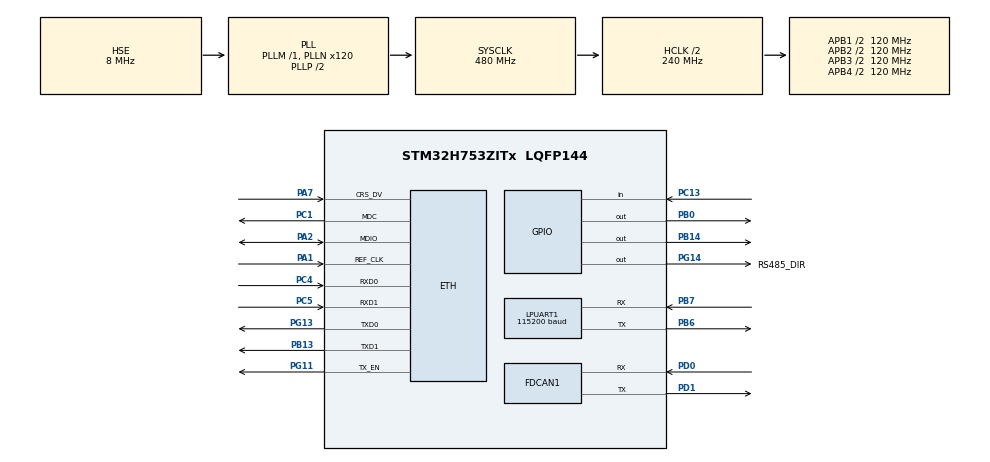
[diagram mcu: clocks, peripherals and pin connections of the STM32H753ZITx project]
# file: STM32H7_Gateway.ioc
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Bdma.LPUART1_RX.0.Direction=DMA_PERIPH_TO_MEMORY
Bdma.LPUART1_RX.0.EventEnable=DISABLE
Bdma.LPUART1_RX.0.Instance=BDMA_Channel0
Bdma.LPUART1_RX.0.MemDataAlignment=DMA_MDATAALIGN_BYTE
Bdma.LPUART1_RX.0.MemInc=DMA_MINC_ENABLE
Bdma.LPUART1_RX.0.Mode=DMA_NORMAL
Bdma.LPUART1_RX.0.PeriphDataAlignment=DMA_PDATAALIGN_BYTE
Bdma.LPUART1_RX.0.PeriphInc=DMA_PINC_DISABLE
Bdma.LPUART1_RX.0.Polarity=HAL_DMAMUX_REQ_GEN_RISING
Bdma.LPUART1_RX.0.Priority=DMA_PRIORITY_LOW
Bdma.LPUART1_RX.0.RequestNumber=1
Bdma.LPUART1_RX.0.SignalID=NONE
Bdma.LPUART1_RX.0.SyncEnable=DISABLE
Bdma.LPUART1_RX.0.SyncPolarity=HAL_DMAMUX_SYNC_NO_EVENT
Bdma.LPUART1_RX.0.SyncRequestNumber=1
Bdma.LPUART1_RX.0.SyncSignalID=NONE
Bdma.LPUART1_TX.1.Direction=DMA_MEMORY_TO_PERIPH
Bdma.LPUART1_TX.1.EventEnable=DISABLE
Bdma.LPUART1_TX.1.Instance=BDMA_Channel1
Bdma.LPUART1_TX.1.MemDataAlignment=DMA_MDATAALIGN_BYTE
Bdma.LPUART1_TX.1.MemInc=DMA_MINC_ENABLE
Bdma.LPUART1_TX.1.Mode=DMA_NORMAL
Bdma.LPUART1_TX.1.PeriphDataAlignment=DMA_PDATAALIGN_BYTE
Bdma.LPUART1_TX.1.PeriphInc=DMA_PINC_DISABLE
Bdma.LPUART1_TX.1.Polarity=HAL_DMAMUX_REQ_GEN_RISING
Bdma.LPUART1_TX.1.Priority=DMA_PRIORITY_LOW
Bdma.LPUART1_TX.1.RequestNumber=1
Bdma.LPUART1_TX.1.SignalID=NONE
Bdma.LPUART1_TX.1.SyncEnable=DISABLE
Bdma.LPUART1_TX.1.SyncPolarity=HAL_DMAMUX_SYNC_NO_EVENT
Bdma.LPUART1_TX.1.SyncRequestNumber=1
Bdma.LPUART1_TX.1.SyncSignalID=NONE
Bdma.Request0=LPUART1_RX
Bdma.Request1=LPUART1_TX
Bdma.RequestsNb=2
CORTEX_M7.CPU_DCache=Disabled
CORTEX_M7.CPU_ICache=Disabled
CORTEX_M7.MPU_Control=__NULL
CORTEX_M7.default_mode_Activation=1
ETH.MediaInterface=HAL_ETH_RMII_MODE
FDCAN1.CalculateBaudRateNominal=166666
FDCAN1.CalculateTimeBitNominal=6000
FDCAN1.CalculateTimeQuantumNominal=2000.0
FDCAN1.Mode=FDCAN_MODE_INTERNAL_LOOPBACK
FDCAN1.RxFifo0ElmtsNbr=1
FDCAN1.StdFiltersNbr=1
FDCAN1.TxFifoQueueElmtsNbr=1
FREERTOS.Tasks01=defaultTask,24,1024,StartDefaultTask,Default,NULL,Dynamic,NULL,NULL
FREERTOS.configTOTAL_HEAP_SIZE=32768
IWDG1.Prescaler=IWDG_PRESCALER_32
IWDG1.Reload=2000
LPUART1.BaudRate=115200
LWIP.BSP.number=1
LWIP.GATEWAY_ADDRESS=192.168.001.001
LWIP.IP_ADDRESS=192.168.001.010
LWIP.LWIP_DHCP=0
LWIP.NETMASK_ADDRESS=255.255.255.000
LWIP.TCPIP_THREAD_STACKSIZE=4096
LWIP.Version=v2.1.2_Cube
LWIP0.BSP.STBoard=false
LWIP0.BSP.api=BSP_COMPONENT_DRIVER
LWIP0.BSP.component=LAN8742
LWIP0.BSP.instance=LAN8742
LWIP0.BSP.name=Driver_PHY
LWIP0.BSP.semaphore=S_LAN8742
LWIP0.BSP.solution=LAN8742
Mcu.Family=STM32H7
Mcu.Name=STM32H753ZITx
Mcu.Package=LQFP144
NUCLEO-H753ZI.BUTTON=1
NUCLEO-H753ZI.LD1=true
NUCLEO-H753ZI.LD2=true
NUCLEO-H753ZI.LD3=true
NUCLEO-H753ZI.VCP=true
NVIC.BDMA_Channel0_IRQn=true\:5\:0\:false\:false\:true\:true\:false\:true\:true
NVIC.BDMA_Channel1_IRQn=true\:5\:0\:false\:false\:true\:true\:false\:true\:true
NVIC.ETH_IRQn=true\:5\:0\:false\:false\:true\:true\:true\:true\:true
NVIC.EXTI15_10_IRQn=true\:5\:0\:false\:false\:true\:true\:false\:true\:true
NVIC.FDCAN1_IT0_IRQn=true\:5\:0\:false\:false\:true\:true\:true\:true\:true
NVIC.LPUART1_IRQn=true\:5\:0\:false\:false\:true\:true\:true\:true\:true
NVIC.PriorityGroup=NVIC_PRIORITYGROUP_4
NVIC.TIM6_DAC_IRQn=true\:15\:0\:false\:false\:true\:false\:false\:true\:true
NVIC.TimeBase=TIM6_DAC_IRQn
NVIC.TimeBaseIP=TIM6
PA1.Mode=RMII
PA1.Signal=ETH_REF_CLK
PA2.Mode=RMII
PA2.Signal=ETH_MDIO
PA7.Mode=RMII
PA7.Signal=ETH_CRS_DV
PB0.Signal=GPIO_Output
PB13.Mode=RMII
PB13.Signal=ETH_TXD1
PB14.Signal=GPIO_Output
PB6.Mode=Asynchronous
PB6.Signal=LPUART1_TX
PB7.Mode=Asynchronous
PB7.Signal=LPUART1_RX
PC1.Mode=RMII
PC1.Signal=ETH_MDC
PC13.Signal=GPIO_Input
PC14-OSC32_IN\ (OSC32_IN).Signal=RCC_OSC32_IN
PC15-OSC32_OUT\ (OSC32_OUT).Signal=RCC_OSC32_OUT
PC4.Mode=RMII
PC4.Signal=ETH_RXD0
PC5.Mode=RMII
PC5.Signal=ETH_RXD1
PD0.Mode=FDCAN_Activate
PD0.Signal=FDCAN1_RX
PD1.Mode=FDCAN_Activate
PD1.Signal=FDCAN1_TX
PD8.Signal=USART3_TX
PD9.Signal=USART3_RX
PG11.Mode=RMII
PG11.Signal=ETH_TX_EN
PG13.Mode=RMII
PG13.Signal=ETH_TXD0
PG14.GPIO_Label=RS485_DIR
PG14.Signal=GPIO_Output
PH0-OSC_IN\ (PH0).Mode=HSE-External-Clock-Source
PH0-OSC_IN\ (PH0).Signal=RCC_OSC_IN
PH1-OSC_OUT\ (PH1).Signal=RCC_OSC_OUT
ProjectManager.HeapSize=0x200
ProjectManager.StackSize=0x400
ProjectManager.TargetToolchain=CMake
RCC.ADCFreq_Value=16125000
RCC.APB1Freq_Value=120000000
RCC.APB2Freq_Value=120000000
RCC.APB3Freq_Value=120000000
RCC.APB4Freq_Value=120000000
RCC.CortexFreq_Value=480000000
RCC.D1PPRE=RCC_APB3_DIV2
RCC.D2PPRE1=RCC_APB1_DIV2
RCC.D2PPRE2=RCC_APB2_DIV2
RCC.D3PPRE=RCC_APB4_DIV2
RCC.DIVM1=1
RCC.DIVN1=120
RCC.DIVQ1=4
RCC.FDCANCLockSelection=RCC_FDCANCLKSOURCE_HSE
RCC.HCLKFreq_Value=240000000
RCC.HPRE=RCC_HCLK_DIV2
RCC.HSE_VALUE=8000000
RCC.PLLFRACN=0
RCC.PLLSourceVirtual=RCC_PLLSOURCE_HSE
RCC.PWR_Regulator_Voltage_Scale=PWR_REGULATOR_VOLTAGE_SCALE0
RCC.SYSCLKFreq_VALUE=480000000
RCC.SYSCLKSource=RCC_SYSCLKSOURCE_PLLCLK
RCC.USBFreq_Value=240000000
VP_FREERTOS_VS_CMSIS_V2.Mode=CMSIS_V2
VP_IWDG1_VS_IWDG.Mode=IWDG_Activate
VP_LWIP_VS_Enabled.Mode=Enabled
VP_MEMORYMAP_VS_MEMORYMAP.Mode=CurAppReg
VP_NUCLEO-H753ZI_VS_BSP_COMMON.Mode=COMMON
VP_SYS_VS_tim6.Mode=TIM6
board=NUCLEO-H753ZI

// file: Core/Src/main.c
/* USER CODE BEGIN Header */
/**
  ******************************************************************************
  * @file           : main.c
  * @brief          : Main program body
  ******************************************************************************
  * @attention
  *
  * Copyright (c) 2026 STMicroelectronics.
  * All rights reserved.
  *
  * This software is licensed under terms that can be found in the LICENSE file
  * in the root directory of this software component.
  * If no LICENSE file comes with this software, it is provided AS-IS.
  *
  ******************************************************************************
  */
/* USER CODE END Header */
#include "main.h"
#include "cmsis_os.h"
#include "lwip.h"

/* USER CODE BEGIN Includes */
#include "modbus_tcp_server.h"

#include "can.h"
#include "pvd.h"
#include "rs485.h"
#include "tasks_init.h"
/* USER CODE END Includes */

COM_InitTypeDef BspCOMInit;

FDCAN_HandleTypeDef hfdcan1;

IWDG_HandleTypeDef hiwdg1;

UART_HandleTypeDef hlpuart1;
DMA_HandleTypeDef hdma_lpuart1_rx;
DMA_HandleTypeDef hdma_lpuart1_tx;

/* Definitions for defaultTask */
osThreadId_t defaultTaskHandle;
const osThreadAttr_t defaultTask_attributes = {
  .name = "defaultTask",
  .stack_size = 1024 * 4,
  .priority = (osPriority_t) osPriorityNormal,
};

void SystemClock_Config(void);
static void MX_GPIO_Init(void);
static void MX_BDMA_Init(void);
static void MX_FDCAN1_Init(void);
static void MX_IWDG1_Init(void);
static void MX_LPUART1_UART_Init(void);
void StartDefaultTask(void *argument);

/* USER CODE BEGIN PFP */
static void MPU_Config(void);
/* USER CODE END PFP */

/* USER CODE BEGIN 0 */
/**
  * @brief  Configure the MPU for Ethernet Descriptors and Buffers in D2 SRAM.
  * @note   Configures 0x30000000 - 0x30007FFF (32KB) as Normal, Non-Cacheable,
  *         Shared to ensure Cache coherency between CPU and Ethernet DMA.
  * @retval None
  */
static void MPU_Config(void)
{
  MPU_Region_InitTypeDef MPU_InitStruct = {0};

  /* Disables the MPU */
  HAL_MPU_Disable();

  /* Configure the MPU as Normal Non-Cacheable for Ethernet Buffers & Descriptors */
  MPU_InitStruct.Enable = MPU_REGION_ENABLE;
  MPU_InitStruct.Number = MPU_REGION_NUMBER0;
  MPU_InitStruct.BaseAddress = 0x30000000;
  MPU_InitStruct.Size = MPU_REGION_SIZE_64KB;
  MPU_InitStruct.SubRegionDisable = 0x0;
  MPU_InitStruct.TypeExtField = MPU_TEX_LEVEL1;
  MPU_InitStruct.AccessPermission = MPU_REGION_FULL_ACCESS;
  MPU_InitStruct.DisableExec = MPU_INSTRUCTION_ACCESS_DISABLE;
  MPU_InitStruct.IsShareable = MPU_ACCESS_SHAREABLE;
  MPU_InitStruct.IsCacheable = MPU_ACCESS_NOT_CACHEABLE;
  MPU_InitStruct.IsBufferable = MPU_ACCESS_NOT_BUFFERABLE;

  HAL_MPU_ConfigRegion(&MPU_InitStruct);

  /* Enables the MPU */
  HAL_MPU_Enable(MPU_PRIVILEGED_DEFAULT);
}
/* USER CODE END 0 */

int main(void)
{

  /* USER CODE BEGIN 1 */
  MPU_Config();
  /* USER CODE END 1 */

  /* MCU Configuration--------------------------------------------------------*/

  /* Reset of all peripherals, Initializes the Flash interface and the Systick. */
  HAL_Init();

  /* Configure the system clock */
  SystemClock_Config();

  /* Initialize all configured peripherals */
  MX_GPIO_Init();
  MX_BDMA_Init();
  MX_FDCAN1_Init();
  MX_IWDG1_Init();
  MX_LPUART1_UART_Init();
  /* USER CODE BEGIN 2 */
  __HAL_DBGMCU_FREEZE_IWDG1();
  /* USER CODE END 2 */

  /* Init scheduler */
  osKernelInitialize();

  /* Create the thread(s) */
  /* creation of defaultTask */
  defaultTaskHandle = osThreadNew(StartDefaultTask, NULL, &defaultTask_attributes);

  /* Initialize leds */
  BSP_LED_Init(LED_GREEN);
  // BSP_LED_Init(LED_BLUE);
  BSP_LED_Init(LED_RED);

  /* Initialize USER push-button, will be used to trigger an interrupt each time it's pressed.*/
  BSP_PB_Init(BUTTON_USER, BUTTON_MODE_EXTI);

  /* Initialize COM1 port (115200, 8 bits (7-bit data + 1 stop bit), no parity */
  BspCOMInit.BaudRate   = 115200;
  BspCOMInit.WordLength = COM_WORDLENGTH_8B;
  BspCOMInit.StopBits   = COM_STOPBITS_1;
  BspCOMInit.Parity     = COM_PARITY_NONE;
  BspCOMInit.HwFlowCtl  = COM_HWCONTROL_NONE;
  if (BSP_COM_Init(COM1, &BspCOMInit) != BSP_ERROR_NONE)
  {
    Error_Handler();
  }

  /* Start scheduler */
  osKernelStart();

  /* We should never get here as control is now taken by the scheduler */

  /* Infinite loop */
  while (1)
  {

  }
}

void SystemClock_Config(void)
{
  RCC_OscInitTypeDef RCC_OscInitStruct = {0};
  RCC_ClkInitTypeDef RCC_ClkInitStruct = {0};

  /** Supply configuration update enable
  */
  HAL_PWREx_ConfigSupply(PWR_LDO_SUPPLY);

  /** Configure the main internal regulator output voltage
  */
  __HAL_PWR_VOLTAGESCALING_CONFIG(PWR_REGULATOR_VOLTAGE_SCALE0);

  while(!__HAL_PWR_GET_FLAG(PWR_FLAG_VOSRDY)) {}

  /** Initializes the RCC Oscillators according to the specified parameters
  * in the RCC_OscInitTypeDef structure.
  */
  RCC_OscInitStruct.OscillatorType = RCC_OSCILLATORTYPE_LSI|RCC_OSCILLATORTYPE_HSE;
  RCC_OscInitStruct.HSEState = RCC_HSE_BYPASS;
  RCC_OscInitStruct.LSIState = RCC_LSI_ON;
  RCC_OscInitStruct.PLL.PLLState = RCC_PLL_ON;
  RCC_OscInitStruct.PLL.PLLSource = RCC_PLLSOURCE_HSE;
  RCC_OscInitStruct.PLL.PLLM = 1;
  RCC_OscInitStruct.PLL.PLLN = 120;
  RCC_OscInitStruct.PLL.PLLP = 2;
  RCC_OscInitStruct.PLL.PLLQ = 4;
  RCC_OscInitStruct.PLL.PLLR = 2;
  RCC_OscInitStruct.PLL.PLLRGE = RCC_PLL1VCIRANGE_3;
  RCC_OscInitStruct.PLL.PLLVCOSEL = RCC_PLL1VCOWIDE;
  RCC_OscInitStruct.PLL.PLLFRACN = 0;
  if (HAL_RCC_OscConfig(&RCC_OscInitStruct) != HAL_OK)
  {
    Error_Handler();
  }

  /** Initializes the CPU, AHB and APB buses clocks
  */
  RCC_ClkInitStruct.ClockType = RCC_CLOCKTYPE_HCLK|RCC_CLOCKTYPE_SYSCLK
                              |RCC_CLOCKTYPE_PCLK1|RCC_CLOCKTYPE_PCLK2
                              |RCC_CLOCKTYPE_D3PCLK1|RCC_CLOCKTYPE_D1PCLK1;
  RCC_ClkInitStruct.SYSCLKSource = RCC_SYSCLKSOURCE_PLLCLK;
  RCC_ClkInitStruct.SYSCLKDivider = RCC_SYSCLK_DIV1;
  RCC_ClkInitStruct.AHBCLKDivider = RCC_HCLK_DIV2;
  RCC_ClkInitStruct.APB3CLKDivider = RCC_APB3_DIV2;
  RCC_ClkInitStruct.APB1CLKDivider = RCC_APB1_DIV2;
  RCC_ClkInitStruct.APB2CLKDivider = RCC_APB2_DIV2;
  RCC_ClkInitStruct.APB4CLKDivider = RCC_APB4_DIV2;

  if (HAL_RCC_ClockConfig(&RCC_ClkInitStruct, FLASH_LATENCY_4) != HAL_OK)
  {
    Error_Handler();
  }
}

static void MX_FDCAN1_Init(void)
{

  hfdcan1.Instance = FDCAN1;
  hfdcan1.Init.FrameFormat = FDCAN_FRAME_CLASSIC;
  hfdcan1.Init.Mode = FDCAN_MODE_INTERNAL_LOOPBACK;
  hfdcan1.Init.AutoRetransmission = DISABLE;
  hfdcan1.Init.TransmitPause = DISABLE;
  hfdcan1.Init.ProtocolException = DISABLE;
  hfdcan1.Init.NominalPrescaler = 16;
  hfdcan1.Init.NominalSyncJumpWidth = 1;
  hfdcan1.Init.NominalTimeSeg1 = 1;
  hfdcan1.Init.NominalTimeSeg2 = 1;
  hfdcan1.Init.DataPrescaler = 1;
  hfdcan1.Init.DataSyncJumpWidth = 1;
  hfdcan1.Init.DataTimeSeg1 = 1;
  hfdcan1.Init.DataTimeSeg2 = 1;
  hfdcan1.Init.MessageRAMOffset = 0;
  hfdcan1.Init.StdFiltersNbr = 1;
  hfdcan1.Init.ExtFiltersNbr = 0;
  hfdcan1.Init.RxFifo0ElmtsNbr = 1;
  hfdcan1.Init.RxFifo0ElmtSize = FDCAN_DATA_BYTES_8;
  hfdcan1.Init.RxFifo1ElmtsNbr = 0;
  hfdcan1.Init.RxFifo1ElmtSize = FDCAN_DATA_BYTES_8;
  hfdcan1.Init.RxBuffersNbr = 0;
  hfdcan1.Init.RxBufferSize = FDCAN_DATA_BYTES_8;
  hfdcan1.Init.TxEventsNbr = 0;
  hfdcan1.Init.TxBuffersNbr = 0;
  hfdcan1.Init.TxFifoQueueElmtsNbr = 1;
  hfdcan1.Init.TxFifoQueueMode = FDCAN_TX_FIFO_OPERATION;
  hfdcan1.Init.TxElmtSize = FDCAN_DATA_BYTES_8;
  if (HAL_FDCAN_Init(&hfdcan1) != HAL_OK)
  {
    Error_Handler();
  }

}

static void MX_IWDG1_Init(void)
{

  hiwdg1.Instance = IWDG1;
  hiwdg1.Init.Prescaler = IWDG_PRESCALER_32;
  hiwdg1.Init.Window = 4095;
  hiwdg1.Init.Reload = 2000;
  if (HAL_IWDG_Init(&hiwdg1) != HAL_OK)
  {
    Error_Handler();
  }

}

static void MX_LPUART1_UART_Init(void)
{

  hlpuart1.Instance = LPUART1;
  hlpuart1.Init.BaudRate = 115200;
  hlpuart1.Init.WordLength = UART_WORDLENGTH_8B;
  hlpuart1.Init.StopBits = UART_STOPBITS_1;
  hlpuart1.Init.Parity = UART_PARITY_NONE;
  hlpuart1.Init.Mode = UART_MODE_TX_RX;
  hlpuart1.Init.HwFlowCtl = UART_HWCONTROL_NONE;
  hlpuart1.Init.OneBitSampling = UART_ONE_BIT_SAMPLE_DISABLE;
  hlpuart1.Init.ClockPrescaler = UART_PRESCALER_DIV1;
  hlpuart1.AdvancedInit.AdvFeatureInit = UART_ADVFEATURE_NO_INIT;
  hlpuart1.FifoMode = UART_FIFOMODE_DISABLE;
  if (HAL_UART_Init(&hlpuart1) != HAL_OK)
  {
    Error_Handler();
  }
  if (HAL_UARTEx_SetTxFifoThreshold(&hlpuart1, UART_TXFIFO_THRESHOLD_1_8) != HAL_OK)
  {
    Error_Handler();
  }
  if (HAL_UARTEx_SetRxFifoThreshold(&hlpuart1, UART_RXFIFO_THRESHOLD_1_8) != HAL_OK)
  {
    Error_Handler();
  }
  if (HAL_UARTEx_DisableFifoMode(&hlpuart1) != HAL_OK)
  {
    Error_Handler();
  }

}

static void MX_BDMA_Init(void)
{

  /* DMA controller clock enable */
  __HAL_RCC_BDMA_CLK_ENABLE();

  /* DMA interrupt init */
  /* BDMA_Channel0_IRQn interrupt configuration */
  HAL_NVIC_SetPriority(BDMA_Channel0_IRQn, 5, 0);
  HAL_NVIC_EnableIRQ(BDMA_Channel0_IRQn);
  /* BDMA_Channel1_IRQn interrupt configuration */
  HAL_NVIC_SetPriority(BDMA_Channel1_IRQn, 5, 0);
  HAL_NVIC_EnableIRQ(BDMA_Channel1_IRQn);

}

static void MX_GPIO_Init(void)
{
  GPIO_InitTypeDef GPIO_InitStruct = {0};

  /* GPIO Ports Clock Enable */
  __HAL_RCC_GPIOC_CLK_ENABLE();
  __HAL_RCC_GPIOH_CLK_ENABLE();
  __HAL_RCC_GPIOA_CLK_ENABLE();
  __HAL_RCC_GPIOB_CLK_ENABLE();
  __HAL_RCC_GPIOD_CLK_ENABLE();
  __HAL_RCC_GPIOG_CLK_ENABLE();

  /*Configure GPIO pin Output Level */
  HAL_GPIO_WritePin(RS485_DIR_GPIO_Port, RS485_DIR_Pin, GPIO_PIN_RESET);

  /*Configure GPIO pin : RS485_DIR_Pin */
  GPIO_InitStruct.Pin = RS485_DIR_Pin;
  GPIO_InitStruct.Mode = GPIO_MODE_OUTPUT_PP;
  GPIO_InitStruct.Pull = GPIO_NOPULL;
  GPIO_InitStruct.Speed = GPIO_SPEED_FREQ_LOW;
  HAL_GPIO_Init(RS485_DIR_GPIO_Port, &GPIO_InitStruct);

}

/* USER CODE BEGIN 4 */
/* HAL 回调：参数必须是 uint16_t，只做转发 */
void HAL_GPIO_EXTI_Callback(uint16_t GPIO_Pin)
{
  if (GPIO_Pin == BUTTON_USER_PIN)
  {
    BSP_PB_Callback(BUTTON_USER);
  }
}

/* BSP 回调：参数是 Button_TypeDef，业务逻辑放这里 */
void BSP_PB_Callback(Button_TypeDef Button)
{
  if (Button == BUTTON_USER)
  {
    __HAL_RCC_RTC_CLK_ENABLE();
    HAL_PWR_EnableBkUpAccess();
    printf("\r\n--- [MANUAL QUERY: RTC BACKUP REGISTERS] ---\r\n");
    printf("BKP0R (Magic): 0x%08lX\r\n", RTC->BKP0R);
    printf("BKP1R (Uptime Before Drop): %lu ms\r\n", RTC->BKP1R);
    if (RTC->BKP0R == 0xDEADBEEF)
    {
      printf("Status: Verified Power-fail event occurred\r\n");
      RTC->BKP0R = 0;
    }
    else
    {
      printf("Status: Clean state, no power loss recorded\r\n");
    }
    printf("--------------------------------------------\r\n\r\n");
  }
}
/* USER CODE END 4 */

void StartDefaultTask(void *argument)
{
  /* init code for LWIP */
  MX_LWIP_Init();
  /* USER CODE BEGIN 5 */
  /* Infinite loop */
  task_init();
  osThreadExit();
  /* USER CODE END 5 */
}

void HAL_TIM_PeriodElapsedCallback(TIM_HandleTypeDef *htim)
{
  if (htim->Instance == TIM6)
  {
    HAL_IncTick();
  }
}

void Error_Handler(void)
{
  __disable_irq();
  while (1)
  {
  }
}

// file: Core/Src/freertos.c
/* USER CODE BEGIN Header */
/**
  ******************************************************************************
  * File Name          : freertos.c
  * Description        : Code for freertos applications
  ******************************************************************************
  * @attention
  *
  * Copyright (c) 2026 STMicroelectronics.
  * All rights reserved.
  *
  * This software is licensed under terms that can be found in the LICENSE file
  * in the root directory of this software component.
  * If no LICENSE file comes with this software, it is provided AS-IS.
  *
  ******************************************************************************
  */
/* USER CODE END Header */

#include "FreeRTOS.h"
#include "task.h"
#include "main.h"

/* USER CODE BEGIN Includes */
#include "tasks_init.h"
/* USER CODE END Includes */

/* USER CODE BEGIN FunctionPrototypes */
/* 栈溢出钩子函数 */
void vApplicationStackOverflowHook(TaskHandle_t xTask, char *pcTaskName)
{
    static char task_name[configMAX_TASK_NAME_LEN];
    if (pcTaskName != NULL) {
        strncpy(task_name, (char *)pcTaskName, sizeof(task_name) - 1);
    }
    while (1) {
    }
}
/* SYSTICK硬件1ms中断钩子函数 */
void vApplicationTickHook(void)
{

}

/* USER CODE END FunctionPrototypes */
